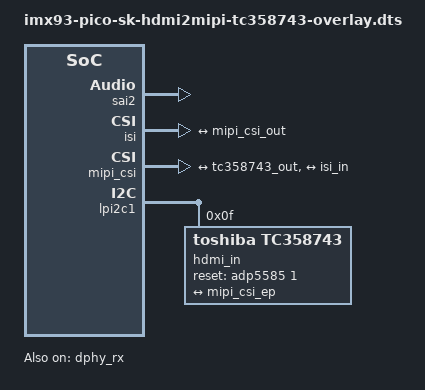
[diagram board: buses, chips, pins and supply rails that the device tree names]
// SPDX-License-Identifier: (GPL-2.0 OR MIT)
/*
 * Copyright 2020 TechNexion Ltd.
 *
 * Author: Richard Hu <richard.hu@technexion.com>
 *         Ray Chang <ray.chang@technexion.com>
 *
 */

/dts-v1/;
/plugin/;

#include <dt-bindings/interrupt-controller/irq.h>
#include <dt-bindings/clock/imx93-clock.h>
#include <dt-bindings/gpio/gpio.h>

/ {
	fragment@0 {
		target-path = "/";
		__overlay__ {
			sound-tc358743 {
				compatible = "nxp,imx-audio-tc358743", "nxp,imx-tc358743";
				cpu-dai = <&sai2>;
				nxp,audio-codec = <&hdmi_in>;
				status = "okay";
			};
		};
	};

	fragment@1 {
		target = <&sai2>;
		__overlay__ {
			fsl,sai-mclk-direction-output;
			status = "okay";
		};
	};


	fragment@2 {
		target = <&isi>;
		__overlay__ {
			status = "okay";

			port {
				isi_in: endpoint {
					remote-endpoint = <&mipi_csi_out>;
				};
			};
		};
	};

	fragment@3 {
		target = <&mipi_csi>;
		__overlay__ {
			status = "okay";
			#address-cells = <1>;
			#size-cells = <0>;

			ports {
				#address-cells = <1>;
				#size-cells = <0>;

				port@0 {
					reg = <0>;
					mipi_csi_ep: endpoint {
						remote-endpoint = <&tc358743_out>;
						data-lanes = <1 2>;
						cfg-clk-range = <28>;
						hs-clk-range = <0x18>;
						bus-type = <4>;
					};
				};

				port@1 {
					reg = <1>;

					mipi_csi_out: endpoint {
						remote-endpoint = <&isi_in>;
					};
				};
			};
		};
	};

	fragment@4 {
		target = <&lpi2c1>;
		__overlay__ {
			#address-cells = <1>;
			#size-cells = <0>;
			status = "okay";

			hdmi_in: tc358743@f {
				compatible = "toshiba,tc358743";
				reg = <0x0f>;
				reset-gpios = <&adp5585 1 GPIO_ACTIVE_HIGH>;
				status = "okay";

				port {
					tc358743_out: endpoint {
						remote-endpoint = <&mipi_csi_ep>;
						data-lanes = <1 2 3 4>;
						clock-lanes = <0>;
						clock-noncontinuous;
						link-frequencies = /bits/ 64 <297000000>;
					};
				};
			};
		};
	};

	fragment@5 {
		target = <&dphy_rx>;
		__overlay__ {
			#address-cells = <1>;
			#size-cells = <0>;
			status = "okay";
		};
	};
};
